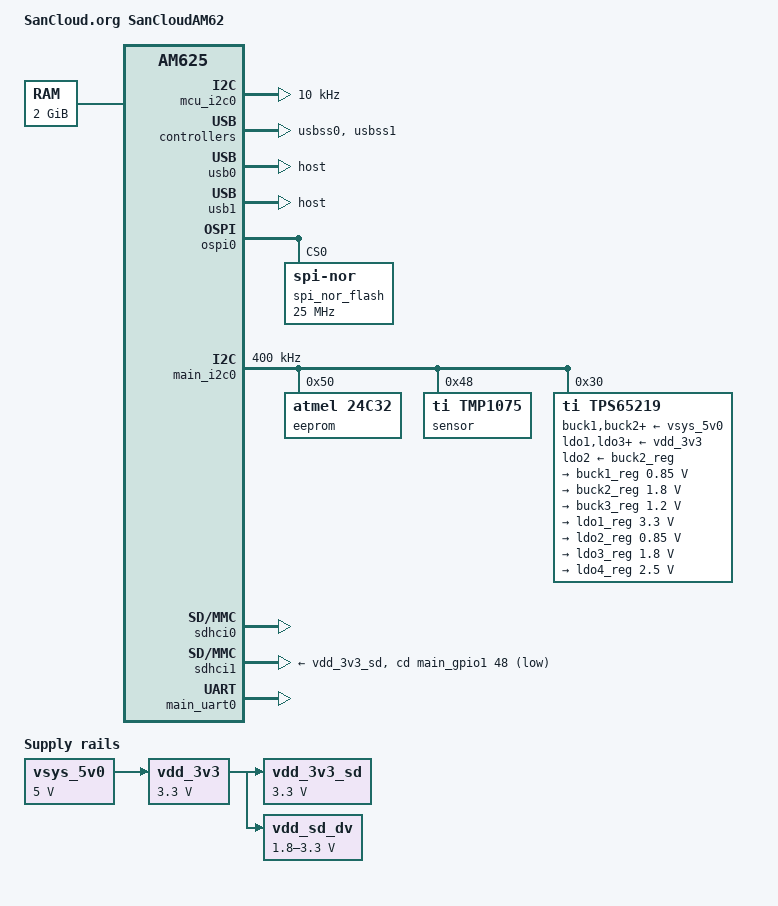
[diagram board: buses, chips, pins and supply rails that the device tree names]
// SPDX-License-Identifier: GPL-2.0
/*
 * https://beagleplay.org/
 *
 * Copyright (C) 2022-2023 Texas Instruments Incorporated - https://www.ti.com/
 * Copyright (C) 2022-2023 Robert Nelson, BeagleBoard.org Foundation
 */

/dts-v1/;

#include <dt-bindings/leds/common.h>
#include <dt-bindings/gpio/gpio.h>
#include <dt-bindings/input/input.h>
#include <dt-bindings/net/ti-dp83867.h>
#include "k3-am625.dtsi"

/ {
	compatible = "sancloud,am625-sancloud", "ti,am625";
	model = "SanCloud.org SanCloudAM62";

	aliases:aliases {
		gpio0 = &main_gpio0;
		gpio1 = &main_gpio1;
		gpio2 = &mcu_gpio0;
		i2c0 = &main_i2c0;
		mmc0 = &sdhci0;
		mmc1 = &sdhci1;
		mmc2 = &sdhci2;
		rtc1 = &wkup_rtc0;
		serial2 = &main_uart0;
		spi0 = &ospi0;
		usb0 = &usb0;
		usb1 = &usb1;
	};

	chosen {
		stdout-path = "serial2:115200n8";
		base_dtb = "k3-am625-sancloud.dts";
		base_dtb_timestamp = __TIMESTAMP__;
	};

	memory@80000000 {
		bootph-pre-ram;
		device_type = "memory";
		/* 2G RAM */
		reg = <0x00000000 0x80000000 0x00000000 0x80000000>;
	};

	reserved-memory {
		#address-cells = <2>;
		#size-cells = <2>;
		ranges;

		rtos_ipc_memory_region: ipc-memories@9c800000 {
			compatible = "shared-dma-pool";
			reg = <0x00 0x9c800000 0x00 0x00300000>;
			no-map;
		};

		mcu_m4fss_dma_memory_region: m4f-dma-memory@9cb00000 {
			compatible = "shared-dma-pool";
			reg = <0x00 0x9cb00000 0x00 0x100000>;
			no-map;
		};

		mcu_m4fss_memory_region: m4f-memory@9cc00000 {
			compatible = "shared-dma-pool";
			reg = <0x00 0x9cc00000 0x00 0xe00000>;
			no-map;
		};

		wkup_r5fss0_core0_dma_memory_region: r5f-dma-memory@9da00000 {
			compatible = "shared-dma-pool";
			reg = <0x00 0x9da00000 0x00 0x00100000>;
			no-map;
		};

		wkup_r5fss0_core0_memory_region: r5f-memory@9db00000 {
			compatible = "shared-dma-pool";
			reg = <0x00 0x9db00000 0x00 0x00c00000>;
			no-map;
		};

		lpm_ctx_ddr: lpm-memory@9e700000 {
			reg = <0x00 0x9e700000 0x00 0x80000>;
			alignment = <0x1000>;
		};

		secure_tfa_ddr: tfa@9e780000 {
			reg = <0x00 0x9e780000 0x00 0x80000>;
			alignment = <0x1000>;
			no-map;
		};

		secure_ddr: optee@9e800000 {
			reg = <0x00 0x9e800000 0x00 0x01800000>; /* for OP-TEE */
			alignment = <0x1000>;
			no-map;
		};
	};

	vsys_5v0: regulator-1 {
		bootph-all;
		compatible = "regulator-fixed";
		regulator-name = "vsys_5v0";
		regulator-min-microvolt = <5000000>;
		regulator-max-microvolt = <5000000>;
		regulator-always-on;
		regulator-boot-on;
	};

	vdd_3v3: regulator-2 {
		/* output of TLV62595DMQR-U12 */
		bootph-all;
		compatible = "regulator-fixed";
		regulator-name = "vdd_3v3";
		regulator-min-microvolt = <3300000>;
		regulator-max-microvolt = <3300000>;
		vin-supply = <&vsys_5v0>;
		regulator-always-on;
		regulator-boot-on;
	};

	vdd_3v3_sd: regulator-4 {
		bootph-all;
		compatible = "regulator-fixed";
		regulator-name = "vdd_3v3_sd";
		regulator-min-microvolt = <3300000>;
		regulator-max-microvolt = <3300000>;
		regulator-always-on;
		vin-supply = <&vdd_3v3>;
	};

	vdd_sd_dv: regulator-5 {
		bootph-all;
		compatible = "regulator-gpio";
		regulator-name = "sd_hs200_switch";
		pinctrl-names = "default";
		pinctrl-0 = <&vdd_sd_dv_pins_default>;
		regulator-min-microvolt = <1800000>;
		regulator-max-microvolt = <3300000>;
		regulator-boot-on;
		vin-supply = <&vdd_3v3>;
		gpios = <&main_gpio1 49 GPIO_ACTIVE_HIGH>;
		states = <1800000 0x0>,
			 <3300000 0x1>;
	};



};

&main_pmx0 {

	gpio0_pins_stratus: gpio0-pins-stratus {
		pinctrl-single,pins = <
			AM62X_IOPAD(0x0030, PIN_OUTPUT_PULLUP, 7) /* (G21) OSPI0_CSn1.GPIO0_12 */ /* NOR_PWR_EN */			 
		>;
	};

	vdd_sd_dv_pins_default: vdd-sd-pins-default {
		pinctrl-single,pins = <
			AM62X_IOPAD(0x0244, PIN_OUTPUT, 7) /* (C17) MMC1_SDWP.GPIO1_49 */
		>;
	};

	local_i2c0_pins_default: local-i2c0-pins-default {
		pinctrl-single,pins = <
			AM62X_IOPAD(0x01e0, PIN_INPUT_PULLUP, 0) /* (B16) I2C0_SCL */
			AM62X_IOPAD(0x01e4, PIN_INPUT_PULLUP, 0) /* (A16) I2C0_SDA */
		>;
	};

	ospi0_pins_default: ospi0-pins-default {
		pinctrl-single,pins = <
			AM62X_IOPAD(0x000, PIN_OUTPUT, 0) /* (H24) OSPI0_CLK */
			AM62X_IOPAD(0x02c, PIN_OUTPUT, 0) /* (F23) OSPI0_CSn0 */
			AM62X_IOPAD(0x00c, PIN_INPUT, 0) /* (E25) OSPI0_D0 */
			AM62X_IOPAD(0x010, PIN_INPUT, 0) /* (G24) OSPI0_D1 */
			AM62X_IOPAD(0x014, PIN_INPUT, 0) /* (F25) OSPI0_D2 */
			AM62X_IOPAD(0x018, PIN_INPUT, 0) /* (F24) OSPI0_D3 */
			
			// AM62X_IOPAD(0x01c, PIN_INPUT, 0) /* (J23) OSPI0_D4 */
			// AM62X_IOPAD(0x020, PIN_INPUT, 0) /* (J25) OSPI0_D5 */
			// AM62X_IOPAD(0x024, PIN_INPUT, 0) /* (H25) OSPI0_D6 */
			// AM62X_IOPAD(0x028, PIN_INPUT, 0) /* (J22) OSPI0_D7 */
			// AM62X_IOPAD(0x008, PIN_INPUT, 0) /* (J24) OSPI0_DQS */			
		>;
	};

	emmc_pins_default: emmc-pins-default {
		pinctrl-single,pins = <
			AM62X_IOPAD(0x0220, PIN_INPUT, 0) /* (Y3) MMC0_CMD */
			AM62X_IOPAD(0x0218, PIN_INPUT, 0) /* (AB1) MMC0_CLK */
			AM62X_IOPAD(0x0214, PIN_INPUT, 0) /* (AA2) MMC0_DAT0 */
			AM62X_IOPAD(0x0210, PIN_INPUT, 0) /* (AA1) MMC0_DAT1 */
			AM62X_IOPAD(0x020c, PIN_INPUT, 0) /* (AA3) MMC0_DAT2 */
			AM62X_IOPAD(0x0208, PIN_INPUT, 0) /* (Y4) MMC0_DAT3 */
			AM62X_IOPAD(0x0204, PIN_INPUT, 0) /* (AB2) MMC0_DAT4 */
			AM62X_IOPAD(0x0200, PIN_INPUT, 0) /* (AC1) MMC0_DAT5 */
			AM62X_IOPAD(0x01fc, PIN_INPUT, 0) /* (AD2) MMC0_DAT6 */
			AM62X_IOPAD(0x01f8, PIN_INPUT, 0) /* (AC2) MMC0_DAT7 */
		>;
	};

	// vdd_3v3_sd_pins_default: vdd-3v3-sd-pins-default {
	// 	pinctrl-single,pins = <
	// 		AM62X_IOPAD(0x01c4, PIN_INPUT, 7) /* (B14) SPI0_D1_GPIO1_19 */
	// 	>;
	// };

	sd_pins_default: sd-pins-default {
		pinctrl-single,pins = <
			AM62X_IOPAD(0x023c, PIN_INPUT, 0) /* (A21) MMC1_CMD */
			AM62X_IOPAD(0x0234, PIN_INPUT, 0) /* (B22) MMC1_CLK */
			AM62X_IOPAD(0x0230, PIN_INPUT, 0) /* (A22) MMC1_DAT0 */
			AM62X_IOPAD(0x022c, PIN_INPUT, 0) /* (B21) MMC1_DAT1 */
			AM62X_IOPAD(0x0228, PIN_INPUT, 0) /* (C21) MMC1_DAT2 */
			AM62X_IOPAD(0x0224, PIN_INPUT, 0) /* (D22) MMC1_DAT3 */
			AM62X_IOPAD(0x0240, PIN_INPUT, 7) /* (D17) MMC1_SDCD.GPIO1_48 */
		>;
	};

	console_pins_default: console-pins-default {
		pinctrl-single,pins = <
			AM62X_IOPAD(0x01c8, PIN_INPUT, 0) /* (D14) UART0_RXD */
			AM62X_IOPAD(0x01cc, PIN_OUTPUT, 0) /* (E14) UART0_TXD */
		>;
	};

	usb0_pins_default: usb0-pins-default {
		pinctrl-single,pins = <
			AM62X_IOPAD(0x0254, PIN_INPUT, 0) /* (C20) USB0_DRVVBUS */
		>;
	};

	usb1_pins_default: usb1-pins-default {
		pinctrl-single,pins = <
			AM62X_IOPAD(0x0258, PIN_INPUT, 0) /* (F18) USB1_DRVVBUS */
		>;
	};

	pmic_irq_pins_default: pmic-irq-pins-default {
		pinctrl-single,pins = <
			AM62X_IOPAD(0x01f4, PIN_INPUT_PULLUP, 0) /* (D16) EXTINTn */
		>;
	};

};

//&crypto {
// 	status = "disabled";
//};

&mcu_pmx0 {
	i2c_qwiic_pins_default: i2c-qwiic-pins-default {
		pinctrl-single,pins = <
			AM62X_MCU_IOPAD(0x0044, PIN_INPUT, 0) /* (A8) MCU_I2C0_SCL */
			AM62X_MCU_IOPAD(0x0048, PIN_INPUT, 0) /* (D10) MCU_I2C0_SDA */
		>;
	};


	gbe_pmx_obsclk: gbe-pmx-clk-default {
		pinctrl-single,pins = <
			/* 25MHz on MCU_OBSCLK0 -unmodified board has strap option to be changed to enable this */
			AM62X_MCU_IOPAD(0x0004, PIN_OUTPUT, 1) /* (B8) MCU_SPI0_CS1.MCU_OBSCLK0 */
		>;
	};

	i2c_csi_pins_default: i2c-csi-pins-default {
		pinctrl-single,pins = <
			AM62X_MCU_IOPAD(0x004c, PIN_INPUT_PULLUP, 0) /* (B9) WKUP_I2C0_SCL */
			AM62X_MCU_IOPAD(0x0050, PIN_INPUT_PULLUP, 0) /* (A9) WKUP_I2C0_SDA */
		>;
	};
};

&a53_opp_table {
	/* Requires VDD_CORE to be at 0.85V */
	opp-1400000000 {
		opp-hz = /bits/ 64 <1400000000>;
		opp-supported-hw = <0x01 0x0004>;
	};
};

/* cbass_main */
/* cbass_wkup */

&wkup_i2c0 {
	pinctrl-names = "default";
	pinctrl-0 = <&i2c_csi_pins_default>;
	/* Bump Up to 400KHz if module allows - 100KHz default */
	clock-frequency = <10000>;
	/* Enable with overlay for camera sensor */
	symlink = "play/csi/i2c";
	status = "disabled";
};

&mcu_i2c0 {
	pinctrl-names = "default";
	pinctrl-0 = <&i2c_qwiic_pins_default>;
	/* Bump Up to 400 if desired */
	clock-frequency = <10000>;
	symlink = "play/qwiic/i2c";
};

&mcu_spi0 {
	status = "disabled";
};

&mcu_spi1 {
	status = "disabled";
};

&mcu_rti0 {
      /* Tightly coupled to M4F */
      status = "disabled";
};

&mcu_m4fss {
	mboxes = <&mailbox0_cluster0 &mbox_m4_0>;
	memory-region = <&mcu_m4fss_dma_memory_region>,
			<&mcu_m4fss_memory_region>;
};


&mailbox0_cluster0 {
	mbox_m4_0: mbox-m4-0 {
		ti,mbox-rx = <0 0 0>;
		ti,mbox-tx = <1 0 0>;
	};
};

&usbss0 {
	ti,vbus-divider;
	status = "okay";
};

&usb0 {
	dr_mode = "host";
	pinctrl-names = "default";
	pinctrl-0 = <&usb0_pins_default>;
};

&usbss1 {
	ti,vbus-divider;
	status = "okay";
};

&usb1 {
	dr_mode = "host";
	pinctrl-names = "default";
	pinctrl-0 = <&usb1_pins_default>;
};


&ospi0 {
	status = "okay";
	pinctrl-names = "default";
	pinctrl-0 = <&ospi0_pins_default>;

	spi_nor_flash: flash@0 {
		compatible = "jedec,spi-nor";
		reg = <0x0>;
		spi-tx-bus-width = <1>;
		spi-rx-bus-width = <4>;
		spi-max-frequency = <25000000>;
		cdns,tshsl-ns = <60>;
		cdns,tsd2d-ns = <60>;
		cdns,tchsh-ns = <60>;
		cdns,tslch-ns = <60>;
		cdns,read-delay = <4>;
		cdns,phy-mode;

		// partitions {
		// 	compatible = "fixed-partitions";
		// 	#address-cells = <1>;
		// 	#size-cells = <1>;

		// 	partition@0 {
		// 		label = "ospi.tiboot3";
		// 		reg = <0x0 0x80000>;
		// 	};

		// 	partition@80000 {
		// 		label = "ospi.tispl";
		// 		reg = <0x80000 0x200000>;
		// 	};

		// 	partition@280000 {
		// 		label = "ospi.u-boot";
		// 		reg = <0x280000 0x400000>;
		// 	};

		// 	partition@680000 {
		// 		label = "ospi.env";
		// 		reg = <0x680000 0x40000>;
		// 	};

		// 	partition@6c0000 {
		// 		label = "ospi.env.backup";
		// 		reg = <0x6c0000 0x40000>;
		// 	};
		// };
	};	
};

&main_gpio0 {
	pinctrl-names = "default";
	pinctrl-0 = <&gpio0_pins_stratus>;
	gpio-line-names = "", "", "", "", "", "", "", "",	/* 0-7 */
		"", "", "", "", "NOR_PWR_EN", "", "",			/* 8-14 */
		"", "", "", "", "", "", "",		/* 15-21 */
		"", "",	/* 22-23 */
		"", "",	/* 24-25 */
		"", "", "", "", "", "", "", "", "", "", "", "",	/* 26-37 */
		"", "", "", "", "", "", "", "", "", "",		/* 38-47 */
		"", "", "", "";			/* 48-51 */
};

&main_gpio1 {
	pinctrl-names = "default";
	pinctrl-0 = <&gpio1_pins_default>;
	gpio-line-names = "", "", "", "", "", "", "", "",	/* 0-7 */
		"", "USR1", "USR0", "", "USR2", "", "",			/* 8-14 */
		"", "", "", "", "", "", "",		/* 15-21 */
		"", "",	/* 22-23 */
		"", "",	/* 24-25 */
		"", "", "", "", "", "", "", "", "", "", "", "",	/* 26-37 */
		"", "", "", "", "", "", "", "", "", "",		/* 38-47 */
		"", "", "", "";			/* 48-51 */
};

&main_i2c0 {
	bootph-all;
	pinctrl-names = "default";
	pinctrl-0 = <&local_i2c0_pins_default>;
	clock-frequency = <400000>;
	status = "okay";

	eeprom@50 {
		compatible = "atmel,24c32";
		reg = <0x50>;
	};

	sensor@48 {
		compatible = "ti,tmp1075";
		reg = <0x48>;
	};

	tps65219: pmic@30 {
		bootph-all;
		compatible = "ti,tps65219";
		reg = <0x30>;
		buck1-supply = <&vsys_5v0>;
		buck2-supply = <&vsys_5v0>;
		buck3-supply = <&vsys_5v0>;
		ldo1-supply = <&vdd_3v3>;
		ldo2-supply = <&buck2_reg>;
		ldo3-supply = <&vdd_3v3>;
		ldo4-supply = <&vdd_3v3>;

		pinctrl-names = "default";
		pinctrl-0 = <&pmic_irq_pins_default>;
		interrupt-parent = <&gic500>;
		interrupts = <GIC_SPI 224 IRQ_TYPE_LEVEL_HIGH>;
		interrupt-controller;
		#interrupt-cells = <2>;

		system-power-controller;
		wakeup-source;
		power-button;

		regulators {
			buck1_reg: buck1 {
				regulator-name = "VDD_CORE";
				regulator-min-microvolt = <850000>;
				regulator-max-microvolt = <850000>;
				regulator-boot-on;
				regulator-always-on;
			};

			buck2_reg: buck2 {
				regulator-name = "VDD_1V8";
				regulator-min-microvolt = <1800000>;
				regulator-max-microvolt = <1800000>;
				regulator-boot-on;
				regulator-always-on;
			};

			buck3_reg: buck3 {
				regulator-name = "VDD_1V2";
				regulator-min-microvolt = <1200000>;
				regulator-max-microvolt = <1200000>;
				regulator-boot-on;
				regulator-always-on;
			};

			ldo1_reg: ldo1 {
				/*
				 * Regulator is left as is unused, vdd_sd
				 * is controlled via GPIO with bypass config
				 * as per the NVM configuration
				 */
				regulator-name = "VDD_SD_3V3";
				regulator-min-microvolt = <3300000>;
				regulator-max-microvolt = <3300000>;
				regulator-allow-bypass;
				regulator-boot-on;
				regulator-always-on;
			};

			ldo2_reg: ldo2 {
				regulator-name = "VDDA_0V85";
				regulator-min-microvolt = <850000>;
				regulator-max-microvolt = <850000>;
				regulator-boot-on;
				regulator-always-on;
			};

			ldo3_reg: ldo3 {
				regulator-name = "VDDA_1V8";
				regulator-min-microvolt = <1800000>;
				regulator-max-microvolt = <1800000>;
				regulator-boot-on;
				regulator-always-on;
			};

			ldo4_reg: ldo4 {
				regulator-name = "VDD_2V5";
				regulator-min-microvolt = <2500000>;
				regulator-max-microvolt = <2500000>;
				regulator-boot-on;
				regulator-always-on;
			};
		};
	};
};


&mcasp0 {
	status = "disabled";
};
/* SDIO (EMMC/SD) */
&sdhci0 {
	bootph-all;
	pinctrl-names = "default";
	pinctrl-0 = <&emmc_pins_default>;
	status = "okay";
};

&sdhci1 {
	/* SD/MMC */
	bootph-all;
	pinctrl-names = "default";
	pinctrl-0 = <&sd_pins_default>;

	vmmc-supply = <&vdd_3v3_sd>;
	vqmmc-supply = <&vdd_sd_dv>;
	ti,driver-strength-ohm = <50>;
	disable-wp;
	cd-gpios = <&main_gpio1 48 GPIO_ACTIVE_LOW>;
	cd-debounce-delay-ms = <100>;
	ti,fails-without-test-cd;
	status = "okay";
};

&sdhci2 {
	status = "disable";
};


&main_uart0 {
	bootph-all;
	pinctrl-names = "default";
	pinctrl-0 = <&console_pins_default>;
	status = "okay";
};

&main_uart2 {
	status = "disabled";
};

&main_uart3 {
	status = "disabled";
};

&main_uart4 {
	status = "disabled";
};

&main_uart5 {
	status = "disabled";
};

&main_uart6 {
	status = "disabled";
};

&dphy0 {
       status = "disabled";
};

&ti_csi2rx0 {
      status = "disabled";
};

